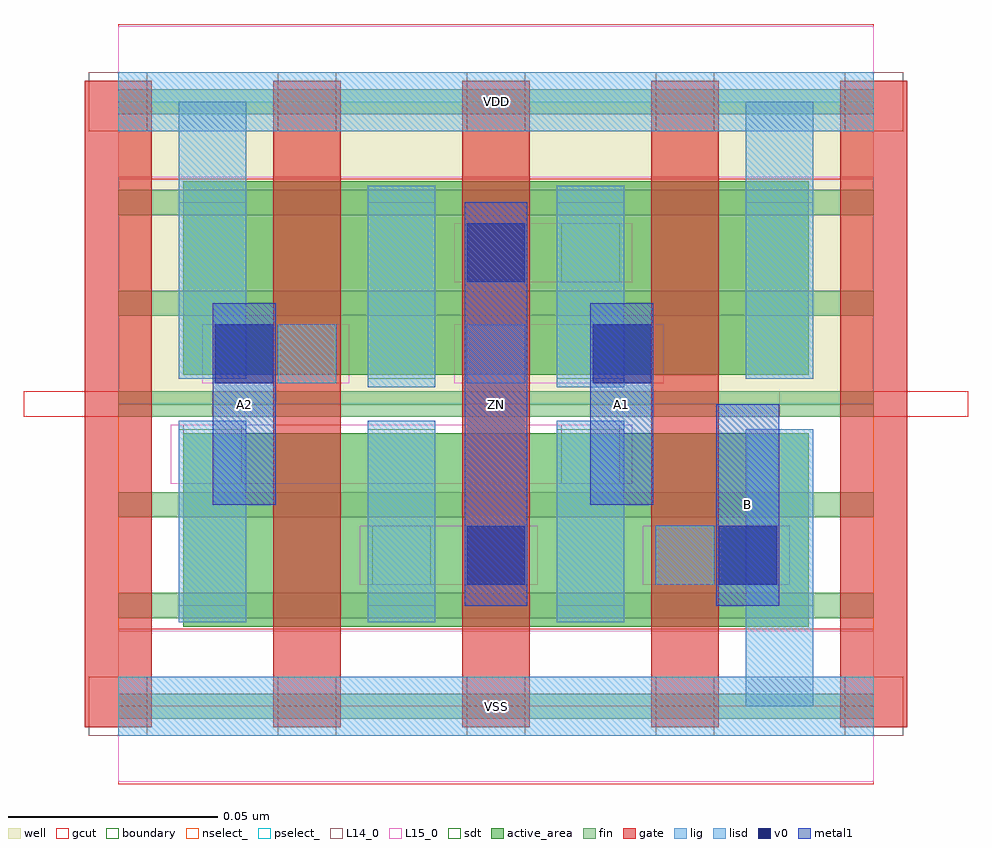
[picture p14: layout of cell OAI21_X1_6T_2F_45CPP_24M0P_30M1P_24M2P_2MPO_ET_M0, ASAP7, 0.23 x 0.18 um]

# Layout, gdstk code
import gdstk
lib = gdstk.Library(unit=1e-6, precision=2.5e-10)
def R(c, l, rs):  # rectangles x0, y0, x1, y1
    for r in rs: c.add(gdstk.rectangle(r[:2], r[2:], *l))
def A(c, l, x, y, w, h, nx, ny, dx, dy):  # array of equal rectangles
    R(c, l, [(x+i*dx, y+j*dy, x+i*dx+w, y+j*dy+h) for i in range(nx) for j in range(ny)])
well = (1, 0)
fin = (2, 0)
gate = (7, 0)
gcut = (10, 0)
active_area = (11, 0)
nselect_ = (12, 0)
pselect_ = (13, 0)
L14_0 = (14, 0)
L15_0 = (15, 0)
lig = (16, 0)
lisd = (17, 0)
v0 = (18, 0)
metal1 = (19, 0)
sdt = (88, 0)
boundary = (100, 0)

oai21_x1_6t_2f_45cpp_24m = lib.new_cell('OAI21_X1_6T_2F_45CPP_24M0P_30M1P_24M2P_2MPO_ET_M0')
R(oai21_x1_6t_2f_45cpp_24m, well, [(0,0.072,0.18,0.144)])
A(oai21_x1_6t_2f_45cpp_24m, fin, 0, -0.003, 0.18, 0.006, 1, 7, 0, 0.024)
A(oai21_x1_6t_2f_45cpp_24m, gate, -0.008, -0.005, 0.016, 0.154, 5, 1, 0.045, 0)
R(oai21_x1_6t_2f_45cpp_24m, gcut, [(0,-0.0185,0.18,0.0185), (-0.0225,0.069,0.0225,0.075), (0.1575,0.069,0.2025,0.075), (0,0.1255,0.18,0.1625)])
A(oai21_x1_6t_2f_45cpp_24m, active_area, 0.0155, 0.019, 0.059, 0.046, 3, 2, 0.045, 0.06)
R(oai21_x1_6t_2f_45cpp_24m, nselect_, [(0,0,0.18,0.072)])
R(oai21_x1_6t_2f_45cpp_24m, pselect_, [(0,0.072,0.18,0.144)])
A(oai21_x1_6t_2f_45cpp_24m, L14_0, -0.007, -0.007, 0.014, 0.014, 5, 2, 0.045, 0.144)
R(oai21_x1_6t_2f_45cpp_24m, L14_0, [(0.0605,0.029,0.0745,0.043), (0.128,0.029,0.142,0.043), (0.0155,0.053,0.0295,0.067), (0.1055,0.053,0.1195,0.067), (0.038,0.077,0.052,0.091), (0.083,0.077,0.097,0.091), (0.1055,0.101,0.1195,0.115)])
R(oai21_x1_6t_2f_45cpp_24m, L15_0, [(0,-0.018,0.18,0.018), (0.0575,0.029,0.1,0.043), (0.125,0.029,0.16,0.043), (0.0125,0.053,0.1225,0.067), (0.02,0.077,0.055,0.091), (0.08,0.077,0.13,0.091), (0.08,0.101,0.1225,0.115), (0,0.126,0.18,0.162)])
R(oai21_x1_6t_2f_45cpp_24m, lig, [(0,-0.007,0.18,0.007), (0.128,0.029,0.142,0.043), (0.038,0.077,0.052,0.091), (0.083,0.077,0.097,0.091), (0,0.137,0.18,0.151)])
A(oai21_x1_6t_2f_45cpp_24m, lisd, 0.0145, 0.02, 0.016, 0.048, 3, 1, 0.045, 0)
R(oai21_x1_6t_2f_45cpp_24m, lisd, [(0.1495,0,0.1655,0.066), (0.0595,0.076,0.0755,0.124), (0.1045,0.076,0.1205,0.124), (0.0145,0.078,0.0305,0.144), (0.1495,0.078,0.1655,0.144)])
R(oai21_x1_6t_2f_45cpp_24m, v0, [(0.083,0.029,0.097,0.043), (0.143,0.029,0.157,0.043), (0.023,0.077,0.037,0.091), (0.113,0.077,0.127,0.091), (0.083,0.101,0.097,0.115)])
R(oai21_x1_6t_2f_45cpp_24m, metal1, [(0.0825,0.024,0.0975,0.12), (0.1425,0.024,0.1575,0.072), (0.0225,0.048,0.0375,0.096), (0.1125,0.048,0.1275,0.096)])
A(oai21_x1_6t_2f_45cpp_24m, sdt, 0.0145, 0.024, 0.016, 0.042, 4, 2, 0.045, 0.054)
R(oai21_x1_6t_2f_45cpp_24m, boundary, [(0,0,0.18,0.144)])
oai21_x1_6t_2f_45cpp_24m.add(gdstk.Label('B', (0.15,0.048), layer=19, texttype=251))
oai21_x1_6t_2f_45cpp_24m.add(gdstk.Label('A1', (0.12,0.072), layer=19, texttype=251))
oai21_x1_6t_2f_45cpp_24m.add(gdstk.Label('ZN', (0.09,0.072), layer=19, texttype=251))
oai21_x1_6t_2f_45cpp_24m.add(gdstk.Label('A2', (0.03,0.072), layer=19, texttype=251))
oai21_x1_6t_2f_45cpp_24m.add(gdstk.Label('VDD', (0.09,0.144), layer=15, texttype=251))
oai21_x1_6t_2f_45cpp_24m.add(gdstk.Label('VSS', (0.09,0), layer=15, texttype=251))
oai21_x1_6t_2f_45cpp_24m.add(gdstk.Label('VDD', (0.09,0.144), layer=1, texttype=251))
oai21_x1_6t_2f_45cpp_24m.add(gdstk.Label('VSS', (0.09,0), layer=3, texttype=251))

lib.write_gds('OAI21_X1_6T_2F_45CPP_24M0P_30M1P_24M2P_2MPO_ET_M0.gds')
